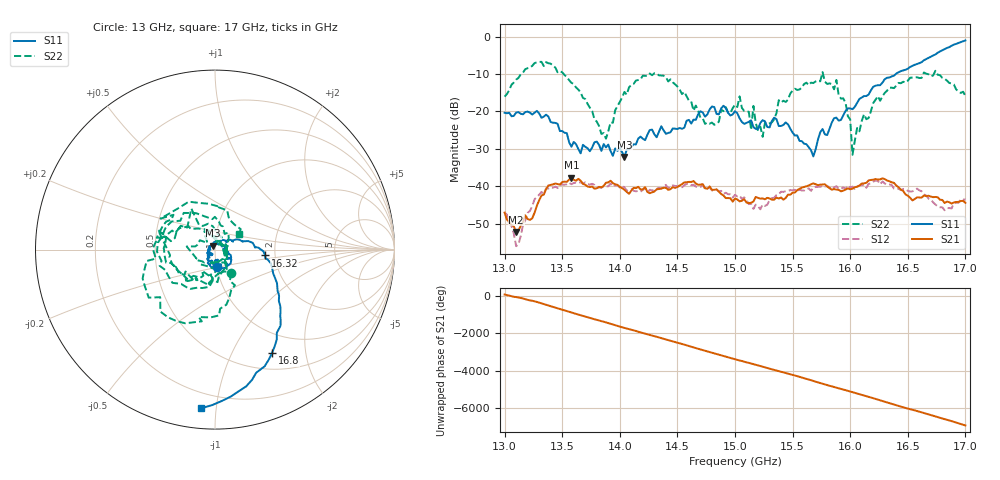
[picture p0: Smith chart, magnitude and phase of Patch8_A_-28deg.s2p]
!Keysight Technologies,P9374A,MY57211810,A.19.30.04
!Date: Friday, May 09, 2025 09:14:50
!Correction: S11(Cdelta 2-Port  )
!S21(Cdelta 2-Port  )
!S12(Cdelta 2-Port  )
!S22(Cdelta 2-Port  )
!S2P File: Measurements: S11, S21, S12, S22:
# Hz S  dB  R 50
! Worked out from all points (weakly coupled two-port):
!   201 points, 13 GHz to 17 GHz, reference 50 ohm
!   highest |S21| = -37.74 dB at 13.58 GHz (marker M1); lowest = -52.3 dB at 13.1 GHz (marker M2)
!   lowest |S11| = -32.2 dB at 14.04 GHz (marker M3), VSWR 1.05, Z = 49 + j2.21 ohm
!   |S11| at or under -10 dB: start of sweep to 16.4 GHz
!   |S22| runs from -31.6 to -6.7 dB; largest |S21 - S12| = 0.0025
!   S11 on the Smith chart (normalised r, x): 13 GHz: 1.00, -0.19; 16.32 GHz: 1.77, -0.13; 16.8 GHz: 0.72, -1.45; 17 GHz: 0.11, -0.91
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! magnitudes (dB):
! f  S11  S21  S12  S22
! 13 GHz  -20.4  -47.1  -47.1  -16.1
! 13.1 GHz  -20.3  -52.3  -56.1  -11.5
! 13.26 GHz  -20.4  -47.1  -43.5  -7.1
! 13.58 GHz  -29.5  -37.7  -39.5  -12.4
! 13.68 GHz  -28.9  -39.4  -39.4  -16.4
! 13.88 GHz  -29.6  -39.1  -40.0  -27.3
! 14.04 GHz  -32.2  -41.0  -40.3  -14.8
! 14.34 GHz  -25.5  -40.8  -40.4  -10.4
! 14.74 GHz  -21.4  -40.6  -40.8  -23.3
! 15 GHz  -20.0  -43.3  -42.3  -18.2
! 15.14 GHz  -22.4  -44.4  -44.7  -24.9
! 15.16 GHz  -24.2  -44.1  -46.1  -18.5
! 15.24 GHz  -22.4  -43.3  -44.9  -26.8
! 15.38 GHz  -23.9  -43.3  -42.2  -17.0
! 15.68 GHz  -32.0  -39.3  -40.3  -12.4
! 15.88 GHz  -21.7  -40.9  -40.0  -11.6
! 16 GHz  -19.2  -40.8  -40.4  -22.1
! 16.02 GHz  -19.4  -40.7  -40.1  -31.6
! 16.32 GHz  -11.0  -38.5  -39.6  -14.5
! 16.34 GHz  -10.9  -38.7  -39.6  -13.6
! 16.8 GHz  -3.6  -43.7  -45.7  -11.1
! 17 GHz  -1.0  -44.5  -43.6  -15.8
